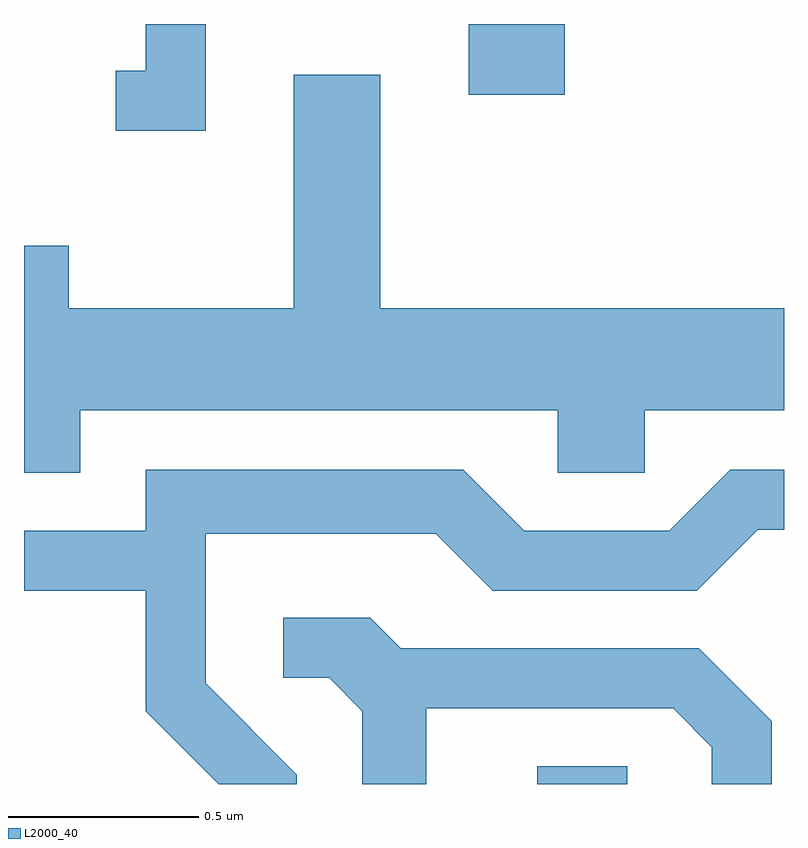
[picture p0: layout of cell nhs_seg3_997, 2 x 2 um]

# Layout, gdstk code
import gdstk
lib = gdstk.Library(unit=1e-6, precision=1e-09)
def R(c, l, rs):  # rectangles x0, y0, x1, y1
    for r in rs: c.add(gdstk.rectangle(r[:2], r[2:], *l))
def P(c, l, *ps):  # polygons
    for p in ps: c.add(gdstk.Polygon(p, *l))
L2000_40 = (2000, 40)

nhs_seg3_997 = lib.new_cell('nhs_seg3_997')
R(nhs_seg3_997, L2000_40, [(193.961,1153.892,194.199,1153.939), (193.781,1155.706,194.034,1155.892)])
P(nhs_seg3_997, L2000_40, [(193.089,1155.892),(192.931,1155.892),(192.931,1155.769),(192.853,1155.769),(192.853,1155.611),(193.089,1155.611)],
  [(192.759,1154.876),(194.016,1154.876),(194.016,1154.711),(194.244,1154.711),(194.244,1154.876),(194.611,1154.876),(194.611,1155.144),(193.549,1155.144),(193.549,1155.759),(193.321,1155.759),(193.321,1155.144),(192.729,1155.144),(192.729,1155.309),(192.611,1155.309),(192.611,1154.711),(192.759,1154.711)],
  [(193.329,1153.917),(193.089,1154.157),(193.089,1154.551),(193.694,1154.551),(193.844,1154.401),(194.382,1154.401),(194.542,1154.561),(194.611,1154.561),(194.611,1154.719),(194.469,1154.719),(194.309,1154.559),(193.927,1154.559),(193.767,1154.719),(192.931,1154.719),(192.931,1154.559),(192.611,1154.559),(192.611,1154.401),(192.931,1154.401),(192.931,1154.084),(193.123,1153.892),(193.329,1153.892)],
  [(193.669,1154.091),(194.319,1154.091),(194.421,1153.989),(194.421,1153.892),(194.579,1153.892),(194.579,1154.057),(194.387,1154.249),(193.602,1154.249),(193.522,1154.329),(193.293,1154.329),(193.293,1154.171),(193.414,1154.171),(193.501,1154.084),(193.501,1153.892),(193.669,1153.892)])

lib.write_gds('nhs_seg3_997.gds')
